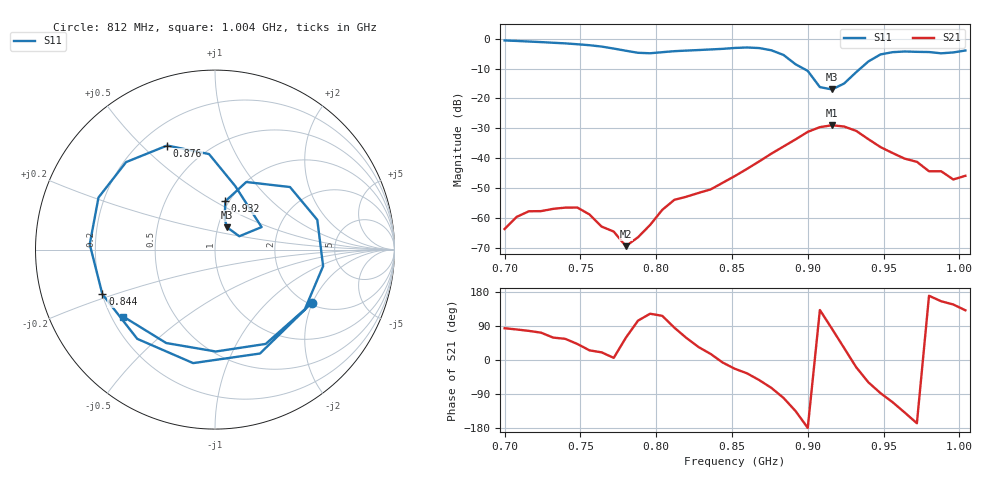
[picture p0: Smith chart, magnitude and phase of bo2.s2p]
# Hz S RI R 50
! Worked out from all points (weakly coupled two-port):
!   39 points, 700 MHz to 1.004 GHz, reference 50 ohm
!   highest |S21| = -28.98 dB at 916 MHz (marker M1); lowest = -69.4 dB at 780 MHz (marker M2)
!   lowest |S11| = -17.0 dB at 916 MHz (marker M3), VSWR 1.33, Z = 55.3 + j14 ohm
!   |S11| at or under -10 dB: 897.1 MHz to 934.7 MHz (37.62 MHz wide, 4.11 % of centre)
!   S12 and S22 are empty: the file has one direction only
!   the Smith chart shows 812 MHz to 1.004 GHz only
!   S11 on the Smith chart (normalised r, x): 812 MHz: 2.08, -1.98; 844 MHz: 0.20, -0.18; 876 MHz: 0.31, +0.60; 932 MHz: 0.96, +0.56; 1.004 GHz: 0.25, -0.31
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7e8  0.748 0.5557  6.99e-05 0.000649  0 0  0 0
7.24e8  0.8421 -0.2369  0.000398 0.00124  0 0  0 0
7.4e8  0.4591 -0.6946  0.000835 0.00123  0 0  0 0
7.56e8  -0.1862 -0.753  0.00103 0.000492  0 0  0 0
7.72e8  -0.6541 -0.1927  0.000588 5.82e-05  0 0  0 0
7.8e8  -0.5833 0.2298  0.000175 0.000288  0 0  0 0
7.88e8  -0.2297 0.532  -0.000114 0.000462  0 0  0 0
7.96e8  0.2544 0.509  -0.000406 0.000647  0 0  0 0
8.04e8  0.5733 0.1515  -0.000611 0.00122  0 0  0 0
8.12e8  0.5413 -0.2952  0.000165 0.002  0 0  0 0
8.28e8  -0.1219 -0.6324  0.00217 0.00147  0 0  0 0
8.44e8  -0.6275 -0.2485  0.00387 -0.000476  0 0  0 0
8.52e8  -0.6979 0.0294  0.00463 -0.00199  0 0  0 0
8.76e8  -0.2663 0.5799  0.00336 -0.0114  0 0  0 0
9e8  0.2596 0.1255  -0.0275 -0.000378  0 0  0 0
9.08e8  0.1354 0.0743  -0.0221 0.0246  0 0  0 0
9.16e8  0.0672 0.1242  0.00478 0.0353  0 0  0 0
9.32e8  0.0572 0.2691  0.027 -0.00946  0 0  0 0
9.48e8  0.4178 0.3486  0.000675 -0.0153  0 0  0 0
9.56e8  0.5699 0.1658  -0.00446 -0.0113  0 0  0 0
9.8e8  0.2823 -0.5256  -0.00594 0.0011  0 0  0 0
1.004e9  -0.5111 -0.3731  -0.00334 0.00382  0 0  0 0
